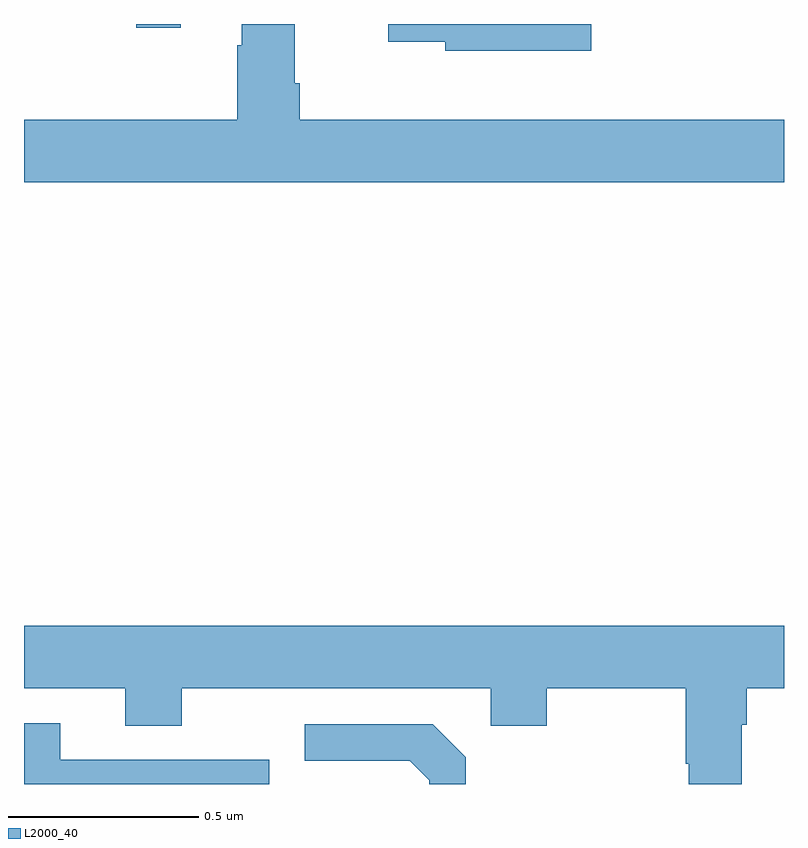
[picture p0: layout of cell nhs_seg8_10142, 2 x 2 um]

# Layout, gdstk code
import gdstk
lib = gdstk.Library(unit=1e-6, precision=1e-09)
def R(c, l, rs):  # rectangles x0, y0, x1, y1
    for r in rs: c.add(gdstk.rectangle(r[:2], r[2:], *l))
def P(c, l, *ps):  # polygons
    for p in ps: c.add(gdstk.Polygon(p, *l))
L2000_40 = (2000, 40)

nhs_seg8_10142 = lib.new_cell('nhs_seg8_10142')
R(nhs_seg8_10142, L2000_40, [(245.296,1132.89,245.413,1132.9)])
P(nhs_seg8_10142, L2000_40, [(247,1132.648),(245.726,1132.648),(245.726,1132.744),(245.713,1132.744),(245.713,1132.9),(245.573,1132.9),(245.573,1132.844),(245.561,1132.844),(245.561,1132.648),(245,1132.648),(245,1132.484),(247,1132.484)],
  [(246.493,1132.9),(245.958,1132.9),(245.958,1132.853),(246.108,1132.853),(246.108,1132.829),(246.493,1132.829)],
  [(246.889,1131.056),(246.902,1131.056),(246.902,1131.152),(247,1131.152),(247,1131.316),(245,1131.316),(245,1131.152),(245.267,1131.152),(245.267,1131.053),(245.415,1131.053),(245.415,1131.152),(246.228,1131.152),(246.228,1131.053),(246.375,1131.053),(246.375,1131.152),(246.742,1131.152),(246.742,1130.953),(246.749,1130.953),(246.749,1130.9),(246.889,1130.9)],
  [(245.646,1130.964),(245.095,1130.964),(245.095,1131.06),(245,1131.06),(245,1130.9),(245.646,1130.9)],
  [(246.162,1130.97),(246.075,1131.057),(245.739,1131.057),(245.739,1130.961),(246.015,1130.961),(246.066,1130.91),(246.066,1130.9),(246.162,1130.9)])

lib.write_gds('nhs_seg8_10142.gds')
